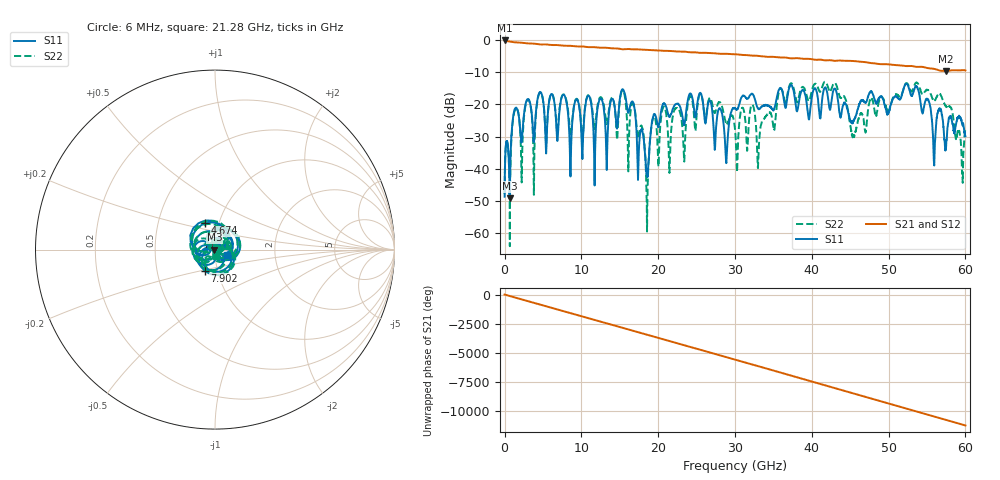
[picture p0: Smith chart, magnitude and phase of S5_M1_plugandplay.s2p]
! 3/29/2017 3:50:07 PM
! D:\PLUGNPLAY1P85\S5_M1.S2P
! CHANNEL.1
! TR.MEASUREMENT
! CORRECTED.DATA
# GHZ S RI R 50.0
! FREQ.GHZ  S11RE  S11IM  S21RE  S21IM  S12RE  S12IM  S22RE  S22IM
!; PortSelection: Port_12
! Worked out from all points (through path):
!   10000 points, 6 MHz to 60 GHz, reference 50 ohm
!   highest |S21| = -0.02 dB at 6 MHz (marker M1); lowest = -9.5 dB at 57.46 GHz (marker M2)
!   group delay of S21, straight-line fit = 518 ps
!   lowest |S11| = -49.3 dB at 672 MHz (marker M3), VSWR 1.01, Z = 49.7 - j0.0855 ohm
!   |S11| at or under -10 dB: start of sweep to end of sweep
!   |S22| runs from -64.2 to -12.9 dB; largest |S21 - S12| = 0.0028
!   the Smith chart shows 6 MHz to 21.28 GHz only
!   S11 on the Smith chart (normalised r, x): 6 MHz: 1.01, +0.00; 4.674 GHz: 0.86, +0.26; 7.902 GHz: 0.87, -0.21; 21.28 GHz: 1.14, -0.07
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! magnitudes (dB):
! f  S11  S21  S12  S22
! 6 MHz  -48.8  0.0  0.0  -47.8
! 672 MHz  -49.3  -0.4  -0.4  -55.2
! 1.392 GHz  -21.1  -0.6  -0.6  -21.3
! 3.822 GHz  -31.8  -1.0  -1.0  -47.7
! 4.674 GHz  -16.1  -1.3  -1.3  -16.3
! 7.902 GHz  -17.7  -1.7  -1.7  -17.5
! 10.01 GHz  -29.3  -1.9  -1.9  -28.0
! 15.41 GHz  -15.3  -2.8  -2.8  -15.6
! 18.55 GHz  -41.3  -2.9  -2.9  -59.6
! 19.32 GHz  -24.0  -3.0  -3.0  -24.4
! 20 GHz  -26.9  -3.1  -3.1  -38.2
! 21.28 GHz  -22.9  -3.3  -3.3  -29.2
! 25.49 GHz  -16.4  -3.9  -3.9  -16.7
! 28.85 GHz  -37.9  -4.2  -4.2  -25.9
! 30.01 GHz  -21.2  -4.3  -4.3  -27.8
! 40 GHz  -17.8  -5.9  -5.9  -15.8
! 43.07 GHz  -15.1  -6.4  -6.4  -13.4
! 45.41 GHz  -25.0  -6.4  -6.4  -30.4
! 50 GHz  -22.5  -7.5  -7.5  -22.2
! 53.62 GHz  -14.4  -8.3  -8.3  -13.2
! 57.46 GHz  -33.8  -9.5  -9.5  -20.4
! 60 GHz  -29.9  -9.4  -9.3  -27.6
